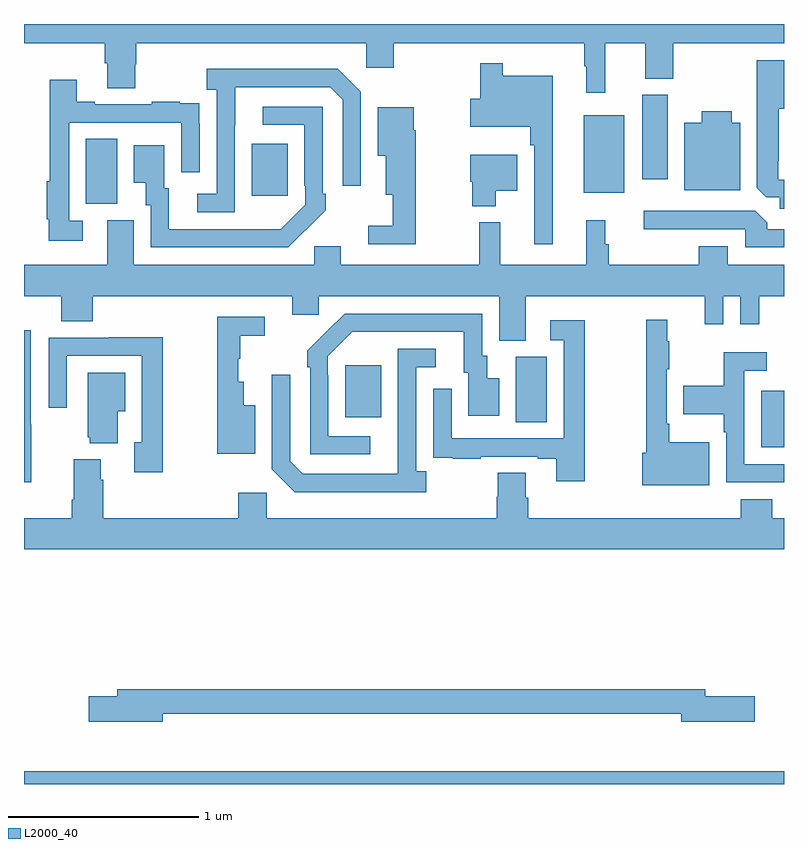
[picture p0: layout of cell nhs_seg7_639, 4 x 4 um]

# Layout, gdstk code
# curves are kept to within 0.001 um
import gdstk
lib = gdstk.Library(unit=1e-6, precision=1e-09)
def R(c, l, rs):  # rectangles x0, y0, x1, y1
    for r in rs: c.add(gdstk.rectangle(r[:2], r[2:], *l))
def P(c, l, *ps):  # polygons
    for p in ps: c.add(gdstk.Polygon(p, *l))
L2000_40 = (2000, 40)

nhs_seg7_639 = lib.new_cell('nhs_seg7_639')
R(nhs_seg7_639, L2000_40, [(159,1046,163,1046.068), (162.881,1047.773,163,1048.069), (161.588,1047.904,161.752,1048.248), (160.691,1047.929,160.879,1048.204), (159.326,1049.053,159.49,1049.396), (160.199,1049.097,160.387,1049.371), (161.945,1049.111,162.16,1049.521), (162.254,1049.184,162.388,1049.628)])
P(nhs_seg7_639, L2000_40, [(162.059,1049.9),(162.269,1049.9),(162.269,1049.713),(162.417,1049.713),(162.417,1049.9),(163,1049.9),(163,1050),(159,1050),(159,1049.9),(159.425,1049.9),(159.425,1049.794),(159.437,1049.794),(159.437,1049.662),(159.585,1049.662),(159.585,1049.787),(159.59,1049.787),(159.59,1049.9),(160.8,1049.9),(160.8,1049.769),(160.947,1049.769),(160.947,1049.9),(161.949,1049.9),(161.949,1049.777),(161.96,1049.777),(161.96,1049.637),(162.059,1049.637)],
  [(163,1049.181),(162.969,1049.181),(162.969,1049.281),(162.973,1049.281),(162.973,1049.555),(163,1049.555),(163,1049.809),(162.857,1049.809),(162.857,1049.137),(162.906,1049.088),(162.977,1049.088),(162.977,1049.027),(163,1049.027)],
  [(161.782,1049.728),(161.521,1049.728),(161.521,1049.794),(161.4,1049.794),(161.4,1049.607),(161.348,1049.607),(161.348,1049.459),(161.665,1049.459),(161.665,1049.363),(161.685,1049.363),(161.685,1048.842),(161.782,1048.842)],
  [(160.11,1049.467),(160.111,1049.667),(160.611,1049.667),(160.677,1049.601),(160.677,1049.148),(160.773,1049.148),(160.773,1049.643),(160.652,1049.764),(159.963,1049.764),(159.963,1049.654),(160.014,1049.654),(160.014,1049.106),(159.912,1049.106),(159.912,1049.01),(160.11,1049.01)],
  [(159.31,1048.965),(159.237,1048.965),(159.237,1049.481),(159.828,1049.481),(159.828,1049.22),(159.924,1049.22),(159.924,1049.474),(159.923,1049.474),(159.923,1049.583),(159.821,1049.583),(159.821,1049.59),(159.673,1049.59),(159.673,1049.577),(159.373,1049.577),(159.373,1049.59),(159.277,1049.59),(159.277,1049.707),(159.136,1049.707),(159.136,1049.172),(159.121,1049.172),(159.121,1048.972),(159.129,1048.972),(159.129,1048.86),(159.31,1048.86)],
  [(160.481,1048.915),(160.482,1048.914),(160.587,1049.019),(160.587,1049.107),(160.572,1049.107),(160.572,1049.565),(160.257,1049.565),(160.257,1049.469),(160.476,1049.469),(160.476,1049.149),(160.479,1049.149),(160.479,1049.049),(160.351,1048.921),(159.763,1048.92),(159.763,1049.136),(159.739,1049.136),(159.739,1049.362),(159.578,1049.362),(159.578,1049.165),(159.641,1049.165),(159.641,1049.046),(159.666,1049.046),(159.666,1048.824),(160.39,1048.824)],
  [(161.062,1049.442),(161.05,1049.442),(161.05,1049.563),(160.862,1049.563),(160.862,1049.306),(160.904,1049.306),(160.904,1049.102),(160.941,1049.102),(160.941,1048.939),(160.812,1048.939),(160.812,1048.842),(161.062,1048.842)],
  [(162.769,1049.479),(162.724,1049.479),(162.724,1049.542),(162.566,1049.542),(162.566,1049.479),(162.476,1049.479),(162.476,1049.126),(162.769,1049.126)],
  [(161.482,1049.123),(161.596,1049.123),(161.596,1049.311),(161.348,1049.311),(161.348,1049.169),(161.36,1049.169),(161.36,1049.042),(161.482,1049.042)],
  [(163,1048.92),(162.911,1048.92),(162.911,1048.954),(162.849,1049.016),(162.261,1049.016),(162.261,1048.92),(162.795,1048.92),(162.795,1048.824),(163,1048.824)],
  [(161.641,1048.568),(162.584,1048.568),(162.584,1048.419),(162.681,1048.419),(162.681,1048.568),(162.771,1048.568),(162.771,1048.419),(162.869,1048.419),(162.869,1048.568),(163,1048.568),(163,1048.732),(162.703,1048.732),(162.703,1048.831),(162.551,1048.831),(162.551,1048.732),(162.077,1048.732),(162.077,1048.841),(162.059,1048.841),(162.059,1048.966),(161.96,1048.966),(161.96,1048.732),(161.507,1048.732),(161.507,1048.957),(161.397,1048.957),(161.397,1048.732),(160.666,1048.732),(160.666,1048.83),(160.527,1048.83),(160.527,1048.732),(159.577,1048.732),(159.577,1048.968),(159.437,1048.968),(159.437,1048.732),(159,1048.732),(159,1048.568),(159.197,1048.568),(159.197,1048.435),(159.362,1048.435),(159.362,1048.568),(160.412,1048.568),(160.412,1048.47),(160.551,1048.47),(160.551,1048.568),(161.501,1048.568),(161.501,1048.333),(161.641,1048.333)],
  [(160.822,1047.831),(160.602,1047.831),(160.602,1048.151),(160.599,1048.151),(160.599,1048.251),(160.728,1048.38),(161.315,1048.38),(161.315,1048.164),(161.339,1048.164),(161.339,1047.939),(161.5,1047.939),(161.5,1048.135),(161.437,1048.135),(161.437,1048.254),(161.412,1048.254),(161.412,1048.476),(160.688,1048.476),(160.491,1048.281),(160.491,1048.193),(160.506,1048.193),(160.506,1047.735),(160.822,1047.735)],
  [(160.216,1047.994),(160.156,1047.994),(160.156,1048.117),(160.127,1048.117),(160.127,1048.239),(160.138,1048.239),(160.138,1048.36),(160.267,1048.36),(160.267,1048.458),(160.017,1048.458),(160.017,1047.737),(160.216,1047.737)],
  [(162.607,1047.799),(162.397,1047.799),(162.397,1047.895),(162.384,1047.895),(162.384,1048.183),(162.397,1048.183),(162.397,1048.331),(162.386,1048.331),(162.386,1048.444),(162.276,1048.444),(162.276,1047.743),(162.254,1047.743),(162.254,1047.572),(162.607,1047.572)],
  [(161.95,1048.441),(161.769,1048.441),(161.769,1048.335),(161.841,1048.335),(161.841,1047.819),(161.25,1047.819),(161.25,1048.081),(161.154,1048.081),(161.154,1047.826),(161.155,1047.826),(161.155,1047.717),(161.257,1047.717),(161.257,1047.711),(161.405,1047.711),(161.405,1047.723),(161.705,1047.723),(161.705,1047.711),(161.801,1047.711),(161.801,1047.594),(161.95,1047.594)],
  [(159.039,1047.893),(159.036,1047.893),(159.036,1048.387),(159,1048.387),(159,1047.587),(159.039,1047.587)],
  [(159.73,1048.352),(159.445,1048.352),(159.445,1048.35),(159.129,1048.35),(159.129,1047.981),(159.225,1047.981),(159.225,1048.254),(159.621,1048.254),(159.621,1047.798),(159.581,1047.798),(159.581,1047.642),(159.73,1047.642)],
  [(161.116,1047.646),(161.064,1047.646),(161.064,1048.194),(161.167,1048.194),(161.167,1048.29),(160.968,1048.29),(160.967,1047.633),(160.467,1047.633),(160.401,1047.699),(160.401,1048.153),(160.305,1048.153),(160.305,1047.657),(160.426,1047.536),(161.116,1047.536)],
  [(163,1047.684),(162.792,1047.684),(162.792,1048.176),(162.91,1048.176),(162.91,1048.273),(162.684,1048.273),(162.684,1048.095),(162.469,1048.095),(162.469,1047.947),(162.684,1047.947),(162.684,1047.851),(162.696,1047.851),(162.696,1047.588),(163,1047.588)],
  [(159.493,1047.962),(159.532,1047.962),(159.532,1048.165),(159.335,1048.165),(159.335,1047.825),(159.347,1047.825),(159.347,1047.794),(159.493,1047.794)],
  [(163,1047.4),(162.938,1047.4),(162.938,1047.499),(162.773,1047.499),(162.773,1047.4),(161.654,1047.4),(161.654,1047.506),(161.641,1047.506),(161.641,1047.638),(161.494,1047.638),(161.494,1047.513),(161.489,1047.513),(161.489,1047.4),(160.278,1047.4),(160.278,1047.532),(160.127,1047.532),(160.127,1047.4),(159.416,1047.4),(159.416,1047.602),(159.403,1047.602),(159.403,1047.709),(159.263,1047.709),(159.263,1047.496),(159.251,1047.496),(159.251,1047.4),(159,1047.4),(159,1047.236),(163,1047.236)],
  [(159.73,1046.37),(162.458,1046.37),(162.458,1046.327),(162.847,1046.327),(162.847,1046.462),(162.586,1046.462),(162.586,1046.498),(159.491,1046.498),(159.491,1046.462),(159.342,1046.462),(159.342,1046.327),(159.73,1046.327)])

lib.write_gds('nhs_seg7_639.gds')
